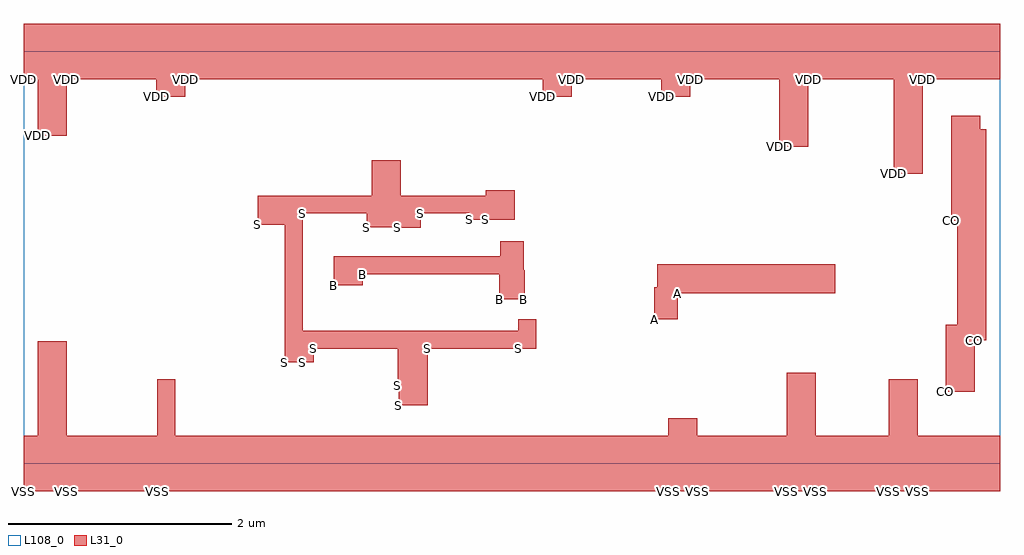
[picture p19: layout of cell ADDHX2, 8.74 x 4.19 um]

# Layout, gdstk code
import gdstk
lib = gdstk.Library(unit=1e-6, precision=1e-09)
def R(c, l, rs):  # rectangles x0, y0, x1, y1
    for r in rs: c.add(gdstk.rectangle(r[:2], r[2:], *l))
L31_0 = (31, 0)
L108_0 = (108, 0)

addhx2 = lib.new_cell('ADDHX2')
R(addhx2, L31_0, [(0,-0.25,0.125,0.25), (0.125,-0.25,0.385,1.095), (0.385,-0.25,1.195,0.25), (1.195,-0.25,1.355,0.755), (1.355,-0.25,5.77,0.25), (5.77,-0.25,6.03,0.405), (6.03,-0.25,6.83,0.25), (6.83,-0.25,7.09,0.815), (7.09,-0.25,7.745,0.25), (7.745,-0.25,8.005,0.755), (8.005,-0.25,8.74,0.25), (3.355,0.52,3.615,1.19), (8.255,0.645,8.355,1.245), (8.355,0.645,8.515,3.115), (3.345,0.695,3.355,1.19), (2.335,0.905,2.495,2.4), (2.495,0.905,2.595,1.19), (2.595,1.03,3.345,1.19), (3.615,1.03,4.425,1.19), (4.425,1.03,4.585,1.29), (8.515,1.105,8.565,3.115), (8.565,1.105,8.615,2.995), (5.645,1.29,5.67,1.58), (5.67,1.29,5.855,1.785), (4.255,1.47,4.265,1.855), (4.265,1.47,4.475,1.99), (4.475,1.47,4.485,1.73), (5.855,1.525,7.265,1.785), (2.775,1.595,3.035,1.855), (3.035,1.695,4.255,1.855), (3.345,2.11,3.375,2.715), (3.375,2.11,3.555,2.4), (3.07,2.115,3.115,2.4), (3.115,2.115,3.345,2.715), (2.095,2.14,2.335,2.4), (8.305,2.175,8.355,3.115), (3.99,2.185,4.135,2.4), (4.135,2.185,4.395,2.445), (2.495,2.24,3.07,2.4), (3.555,2.24,3.99,2.4), (7.79,2.595,8.05,3.94), (6.765,2.835,7.025,3.94), (0.125,2.935,0.385,3.94), (1.185,3.285,1.445,3.94), (4.645,3.285,4.905,3.94), (5.705,3.285,5.965,3.94), (0,3.44,0.125,3.94), (0.385,3.44,1.185,3.94), (1.445,3.44,4.645,3.94), (4.905,3.44,5.705,3.94), (5.965,3.44,6.765,3.94), (7.025,3.44,7.79,3.94), (8.05,3.44,8.74,3.94)])
R(addhx2, L108_0, [(0,0,8.74,3.69)])
addhx2.add(gdstk.Label('S', (2.095,2.14), layer=131, texttype=0))
addhx2.add(gdstk.Label('S', (2.335,0.905), layer=131, texttype=0))
addhx2.add(gdstk.Label('S', (2.495,0.905), layer=131, texttype=0))
addhx2.add(gdstk.Label('S', (2.495,2.24), layer=131, texttype=0))
addhx2.add(gdstk.Label('S', (3.07,2.115), layer=131, texttype=0))
addhx2.add(gdstk.Label('S', (3.115,2.115), layer=131, texttype=0))
addhx2.add(gdstk.Label('S', (2.595,1.03), layer=131, texttype=0))
addhx2.add(gdstk.Label('S', (3.345,0.695), layer=131, texttype=0))
addhx2.add(gdstk.Label('S', (3.345,2.11), layer=131, texttype=0))
addhx2.add(gdstk.Label('S', (3.375,2.11), layer=131, texttype=0))
addhx2.add(gdstk.Label('S', (3.355,0.52), layer=131, texttype=0))
addhx2.add(gdstk.Label('S', (3.555,2.24), layer=131, texttype=0))
addhx2.add(gdstk.Label('S', (3.99,2.185), layer=131, texttype=0))
addhx2.add(gdstk.Label('S', (4.135,2.185), layer=131, texttype=0))
addhx2.add(gdstk.Label('S', (3.615,1.03), layer=131, texttype=0))
addhx2.add(gdstk.Label('S', (4.425,1.03), layer=131, texttype=0))
addhx2.add(gdstk.Label('CO', (8.305,2.175), layer=131, texttype=0))
addhx2.add(gdstk.Label('CO', (8.255,0.645), layer=131, texttype=0))
addhx2.add(gdstk.Label('CO', (8.355,0.645), layer=131, texttype=0))
addhx2.add(gdstk.Label('CO', (8.515,1.105), layer=131, texttype=0))
addhx2.add(gdstk.Label('CO', (8.565,1.105), layer=131, texttype=0))
addhx2.add(gdstk.Label('B', (2.775,1.595), layer=131, texttype=0))
addhx2.add(gdstk.Label('B', (3.035,1.695), layer=131, texttype=0))
addhx2.add(gdstk.Label('B', (4.255,1.47), layer=131, texttype=0))
addhx2.add(gdstk.Label('B', (4.265,1.47), layer=131, texttype=0))
addhx2.add(gdstk.Label('B', (4.475,1.47), layer=131, texttype=0))
addhx2.add(gdstk.Label('A', (5.645,1.29), layer=131, texttype=0))
addhx2.add(gdstk.Label('A', (5.67,1.29), layer=131, texttype=0))
addhx2.add(gdstk.Label('A', (5.855,1.525), layer=131, texttype=0))
addhx2.add(gdstk.Label('VSS', (0,-0.25), layer=131, texttype=0))
addhx2.add(gdstk.Label('VSS', (0.125,-0.25), layer=131, texttype=0))
addhx2.add(gdstk.Label('VSS', (0.385,-0.25), layer=131, texttype=0))
addhx2.add(gdstk.Label('VSS', (1.195,-0.25), layer=131, texttype=0))
addhx2.add(gdstk.Label('VSS', (1.355,-0.25), layer=131, texttype=0))
addhx2.add(gdstk.Label('VSS', (5.77,-0.25), layer=131, texttype=0))
addhx2.add(gdstk.Label('VSS', (6.03,-0.25), layer=131, texttype=0))
addhx2.add(gdstk.Label('VSS', (6.83,-0.25), layer=131, texttype=0))
addhx2.add(gdstk.Label('VSS', (7.09,-0.25), layer=131, texttype=0))
addhx2.add(gdstk.Label('VSS', (7.745,-0.25), layer=131, texttype=0))
addhx2.add(gdstk.Label('VSS', (8.005,-0.25), layer=131, texttype=0))
addhx2.add(gdstk.Label('VDD', (0,3.44), layer=131, texttype=0))
addhx2.add(gdstk.Label('VDD', (0.125,2.935), layer=131, texttype=0))
addhx2.add(gdstk.Label('VDD', (0.385,3.44), layer=131, texttype=0))
addhx2.add(gdstk.Label('VDD', (1.185,3.285), layer=131, texttype=0))
addhx2.add(gdstk.Label('VDD', (1.445,3.44), layer=131, texttype=0))
addhx2.add(gdstk.Label('VDD', (4.645,3.285), layer=131, texttype=0))
addhx2.add(gdstk.Label('VDD', (4.905,3.44), layer=131, texttype=0))
addhx2.add(gdstk.Label('VDD', (5.705,3.285), layer=131, texttype=0))
addhx2.add(gdstk.Label('VDD', (5.965,3.44), layer=131, texttype=0))
addhx2.add(gdstk.Label('VDD', (6.765,2.835), layer=131, texttype=0))
addhx2.add(gdstk.Label('VDD', (7.025,3.44), layer=131, texttype=0))
addhx2.add(gdstk.Label('VDD', (7.79,2.595), layer=131, texttype=0))
addhx2.add(gdstk.Label('VDD', (8.05,3.44), layer=131, texttype=0))

lib.write_gds('ADDHX2.gds')
